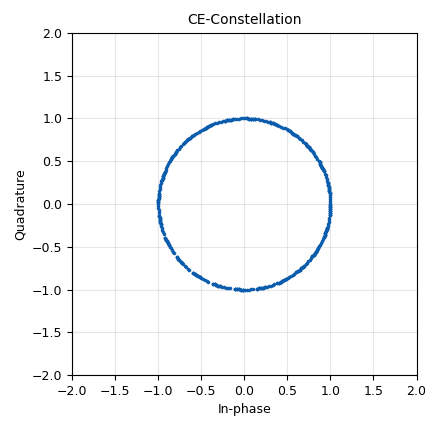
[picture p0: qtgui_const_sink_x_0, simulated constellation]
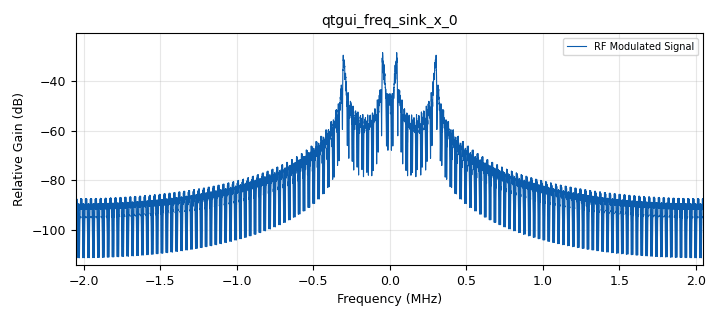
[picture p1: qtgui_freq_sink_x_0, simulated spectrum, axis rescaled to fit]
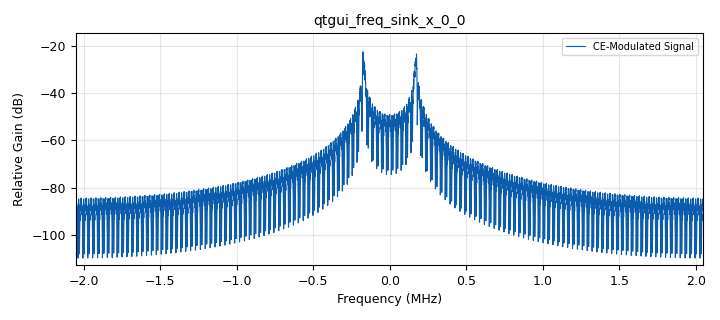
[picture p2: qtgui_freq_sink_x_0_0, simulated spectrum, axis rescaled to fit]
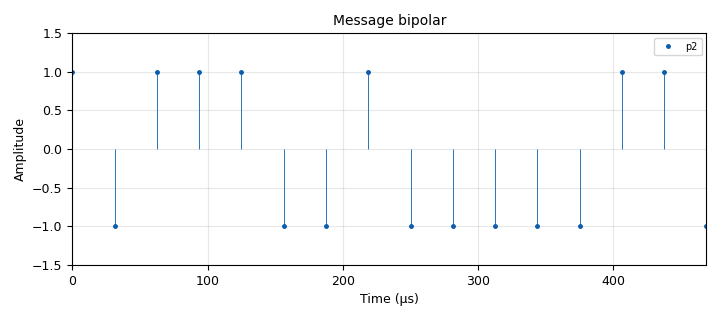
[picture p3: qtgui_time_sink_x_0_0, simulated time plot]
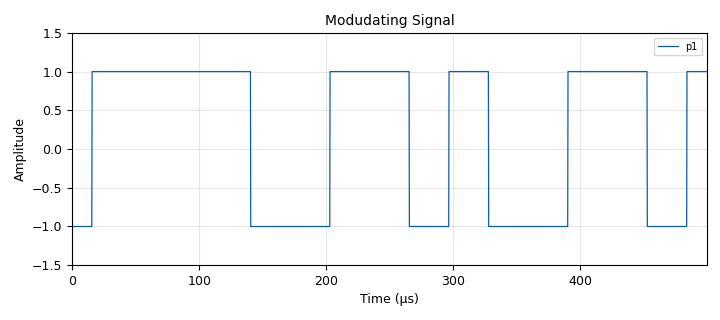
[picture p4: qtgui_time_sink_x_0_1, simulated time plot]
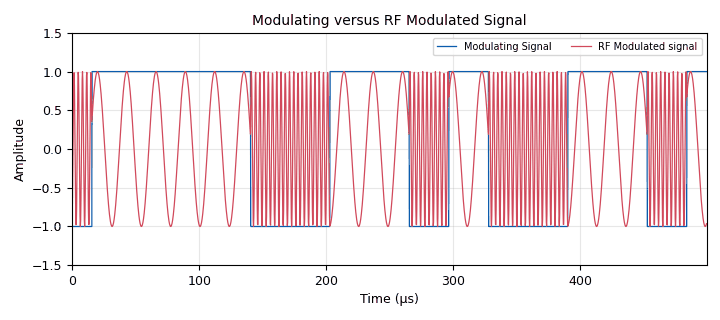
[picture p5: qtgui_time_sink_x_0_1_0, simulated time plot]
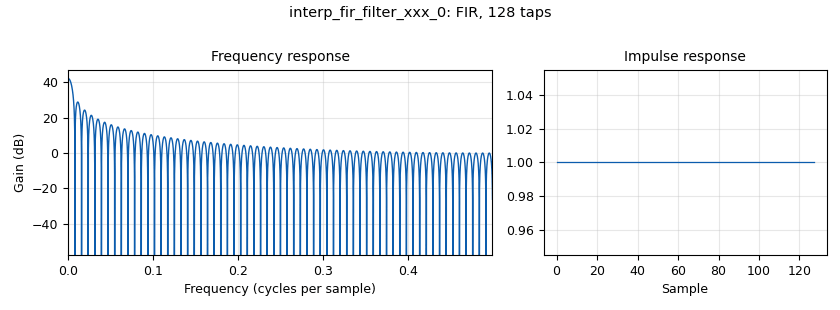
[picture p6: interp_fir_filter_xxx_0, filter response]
options:
  parameters:
    author: radiogis_director
    generate_options: qt_gui
    id: fsk
    output_language: python
    title: fsk
  states: {}

blocks:
- name: Rb
  id: variable
  parameters:
    value: '32000'
  states: {}
- name: Sps
  id: variable
  parameters:
    value: '128'
  states: {}
- name: fc
  id: variable_qtgui_range
  parameters:
    gui_hint: 0,0,1,1
    label: 'Carrier Freq. '
    start: '0'
    step: samp_rate/1000
    stop: samp_rate/8
    value: Rb*4
  states: {}
- name: fd
  id: variable_qtgui_range
  parameters:
    gui_hint: 0,1,1,1
    label: Deviation Freq
    start: '0'
    step: samp_rate/1000
    stop: samp_rate/8
    value: Rb
  states: {}
- name: h
  id: variable
  parameters:
    value: '[1]*Sps'
  states: {}
- name: samp_rate
  id: variable
  parameters:
    value: Rb*Sps
  states: {}
- name: Menu
  id: qtgui_tab_widget
  parameters:
    gui_hint: 4,0,1,2
    label0: Message
    label1: Modulated-Time
    label2: Modulated-Freq
    label3: Constellatin
    num_tabs: '4'
  states: {}
- name: analog_const_source_x_0
  id: analog_const_source_x
  parameters:
    const: '1'
    type: float
  states: {}
- name: analog_random_source_x_0
  id: analog_random_source_x
  parameters:
    max: '2'
    min: '0'
    num_samps: '1000000'
    repeat: 'True'
    type: byte
  states: {}
- name: blocks_add_const_vxx_0
  id: blocks_add_const_vxx
  parameters:
    const: '-0.5'
    type: float
  states: {state: disabled}
- name: blocks_add_const_vxx_1
  id: blocks_add_const_vxx
  parameters:
    const: '-0.5'
    type: float
  states: {}
- name: blocks_char_to_float_0
  id: blocks_char_to_float
  parameters:
    scale: '1'
  states: {}
- name: blocks_multiply_const_vxx_0
  id: blocks_multiply_const_vxx
  parameters:
    const: 2*math.pi*fd/(Rb*Sps)
    type: float
  states: {state: disabled}
- name: blocks_multiply_const_vxx_0_0
  id: blocks_multiply_const_vxx
  parameters:
    const: '2'
    type: float
  states: {state: disabled}
- name: blocks_multiply_const_vxx_0_1
  id: blocks_multiply_const_vxx
  parameters:
    const: math.pi
    type: float
  states: {state: disabled}
- name: blocks_multiply_const_vxx_1
  id: blocks_multiply_const_vxx
  parameters:
    const: '2'
    type: float
  states: {}
- name: blocks_multiply_const_vxx_1_0
  id: blocks_multiply_const_vxx
  parameters:
    const: fd
    type: float
  states: {}
- name: epy_block_0
  id: epy_block
  parameters:
    _source_code: "import numpy as np\nfrom gnuradio import gr\nimport math\n\nclass blk(gr.sync_block):  \n    \"\"\"This block is a RF VCO and works as following:\n    The block takes two values as inputs, A and Q, A is\n    the amplitude of the message, and Q is the phase of the message.\n    Next, in the \"work\" function, a vector n is generated,\n    this vector represents the moment of time.\n    With this data, the modulation is generated: the amplitude \"A\" is\n    taken and multiplied to a cosine with carrier frequency, and with phase \"Q\".\n    The output of this block will be the OOK modulated signal.\"\"\"\n\n    def __init__(self, fc=128000, samp_rate=320000):  \n        gr.sync_block.__init__(\n            self,\n            name='e_RF_VCO_ff',   \n            in_sig=[np.float32, np.float32],\n            out_sig=[np.float32]\n        )\n        self.fc = fc\n        self.samp_rate = samp_rate\n        self.n_m=0\n\n    def work(self, input_items, output_items):\n        A=input_items[0]\n        Q=input_items[1]\n        y=output_items[0]\n        N=len(A)\n        n=np.linspace(self.n_m,self.n_m+N-1,N)\n        self.n_m += N\n        y[:]=A*np.cos(2*math.pi*self.fc*n/self.samp_rate+Q)\n        return len(output_items[0])\n\n\n"
    fc: fc
    samp_rate: samp_rate
  states: {}
- name: epy_block_0_0
  id: epy_block
  parameters:
    _source_code: "import numpy as np\nfrom gnuradio import gr\nimport math\n\nclass blk(gr.sync_block):  \n    \"\"\"This block is a CE VCO or baseband VCO and works as following:\n    The block takes two values as inputs, A and Q, A is the amplitude \n    of the message, and Q is the phase of the message.\n    Next, in the \"work\" function, the information is processed.\n    Here the modulation is generated: the amplitude \"A\" is taken and \n    multiplied by an euler with argument \"1j*Q\".\n    This generates a sine and cosine in which the message information is found.\n    The output of this block will be the complex envelope for OOK modulation.\"\"\"\n\n    def __init__(self,):  \n        gr.sync_block.__init__(\n            self,\n            name='e_CE_VCO_fc',   \n            in_sig=[np.float32, np.float32],\n            out_sig=[np.complex64]\n        )\n        \n    def work(self, input_items, output_items):\n        A=input_items[0]\n        Q=input_items[1]\n        y=output_items[0]\n        N=len(A)\n        y[:]=A*np.exp(1j*Q)\n        return len(output_items[0])\n        \n        \n"
  states: {}
- name: epy_block_0_1
  id: epy_block
  parameters:
    _source_code: |
      """
      Embedded Python Blocks:

      Each time this file is saved, GRC will instantiate the first class it finds
      to get ports and parameters of your block. The arguments to __init__  will
      be the parameters. All of them are required to have default values!
      """

      import numpy as np
      from gnuradio import gr


      class blk(gr.sync_block):  # other base classes are basic_block, decim_block, interp_block
          """Embedded Python Block example - a simple multiply const"""

          def __init__(self,):  # only default arguments here
              """arguments to this function show up as parameters in GRC"""
              gr.sync_block.__init__(
                  self,
                  name='e_Acum',   # will show up in GRC
                  in_sig=[np.float32],
                  out_sig=[np.float32]
              )
              self.acum=0
              
          def work(self, input_items, output_items):
              x=input_items[0]
              y= output_items[0]


              y[:]=self.acum+np.cumsum(x)
              self.acum=y[-1]
              return len(y)
  states: {}
- name: import_0
  id: import
  parameters:
    imports: import math
  states: {}
- name: import_0_0
  id: import
  parameters:
    imports: import numpy as np
  states: {}
- name: interp_fir_filter_xxx_0
  id: interp_fir_filter_xxx
  parameters:
    interp: Sps
    taps: h
    type: fff
  states: {}
- name: qtgui_const_sink_x_0
  id: qtgui_const_sink_x
  parameters:
    gui_hint: Menu@3:3,1,1,1
    name: '"CE-Constellation"'
    size: '1024'
    type: complex
    width1: '8'
  states: {}
- name: qtgui_freq_sink_x_0
  id: qtgui_freq_sink_x
  parameters:
    average: '0.05'
    bw: samp_rate
    fc: '0'
    fftsize: 1024*8
    gui_hint: Menu@2:2,1,1,1
    label1: RF Modulated Signal
    type: float
    width1: '2'
    ymax: '-35'
    ymin: '-65'
  states: {}
- name: qtgui_freq_sink_x_0_0
  id: qtgui_freq_sink_x
  parameters:
    average: '0.05'
    bw: samp_rate
    fc: '0'
    fftsize: 1024*8
    gui_hint: Menu@2:3,1,1,1
    label1: CE-Modulated Signal
    type: complex
    width1: '2'
    ymax: '-35'
    ymin: '-65'
  states: {}
- name: qtgui_time_sink_x_0_0
  id: qtgui_time_sink_x
  parameters:
    gui_hint: Menu@0:3,1,1,1
    label1: p2
    marker1: '0'
    name: '"Message bipolar"'
    size: '16'
    srate: Rb
    stemplot: 'True'
    type: float
    width1: '3'
    ymax: '1.5'
    ymin: '-1.5'
  states: {}
- name: qtgui_time_sink_x_0_1
  id: qtgui_time_sink_x
  parameters:
    gui_hint: Menu@0:4,1,1,1
    label1: p1
    name: Modudating Signal
    size: 16*Sps
    srate: samp_rate
    type: float
    width1: '3'
    ymax: '1.5'
    ymin: '-1.5'
  states: {}
- name: qtgui_time_sink_x_0_1_0
  id: qtgui_time_sink_x
  parameters:
    gui_hint: Menu@1:2,1,1,1
    label1: Modulating Signal
    label2: RF Modulated signal
    name: Modulating versus RF Modulated Signal
    nconnections: '2'
    size: 16*Sps
    srate: samp_rate
    type: float
    width1: '4'
    width2: '2'
    ymax: '1.5'
    ymin: '-1.5'
  states: {}
- name: qtgui_time_sink_x_0_1_0_0
  id: qtgui_time_sink_x
  parameters:
    gui_hint: Menu@1:3,1,1,1
    label1: I-Signal
    label2: Q-signal
    name: CE Modulated Signal
    size: 16*Sps
    srate: samp_rate
    type: complex
    width1: '2'
    width2: '2'
    ymax: '1.5'
    ymin: '-1.5'
  states: {}
- name: virtual_sink_0_0
  id: virtual_sink
  parameters:
    stream_id: p2
  states: {}
- name: virtual_sink_0_0_0
  id: virtual_sink
  parameters:
    stream_id: p3
  states: {}
- name: virtual_sink_0_0_0_0
  id: virtual_sink
  parameters:
    stream_id: p4
  states: {}
- name: virtual_sink_0_0_0_0_0
  id: virtual_sink
  parameters:
    stream_id: p4b
  states: {}
- name: virtual_source_0_0
  id: virtual_source
  parameters:
    stream_id: p2
  states: {}
- name: virtual_source_0_1
  id: virtual_source
  parameters:
    stream_id: p3
  states: {}
- name: virtual_source_0_1_0
  id: virtual_source
  parameters:
    stream_id: p4
  states: {}
- name: virtual_source_0_1_0_0
  id: virtual_source
  parameters:
    stream_id: p4b
  states: {}

connections:
- [analog_const_source_x_0, '0', epy_block_0, '0']
- [analog_const_source_x_0, '0', epy_block_0_0, '0']
- [analog_random_source_x_0, '0', blocks_char_to_float_0, '0']
- [blocks_add_const_vxx_0, '0', blocks_multiply_const_vxx_0_0, '0']
- [blocks_add_const_vxx_1, '0', blocks_multiply_const_vxx_1, '0']
- [blocks_char_to_float_0, '0', blocks_add_const_vxx_0, '0']
- [blocks_char_to_float_0, '0', blocks_add_const_vxx_1, '0']
- [blocks_multiply_const_vxx_0_0, '0', interp_fir_filter_xxx_0, '0']
- [blocks_multiply_const_vxx_0_0, '0', virtual_sink_0_0, '0']
- [blocks_multiply_const_vxx_1, '0', interp_fir_filter_xxx_0, '0']
- [blocks_multiply_const_vxx_1, '0', virtual_sink_0_0, '0']
- [blocks_multiply_const_vxx_1_0, '0', epy_block_0, '1']
- [blocks_multiply_const_vxx_1_0, '0', epy_block_0_0, '1']
- [epy_block_0, '0', virtual_sink_0_0_0_0, '0']
- [epy_block_0_0, '0', virtual_sink_0_0_0_0_0, '0']
- [epy_block_0_1, '0', blocks_multiply_const_vxx_1_0, '0']
- [interp_fir_filter_xxx_0, '0', epy_block_0_1, '0']
- [interp_fir_filter_xxx_0, '0', virtual_sink_0_0_0, '0']
- [virtual_source_0_0, '0', qtgui_time_sink_x_0_0, '0']
- [virtual_source_0_1, '0', qtgui_time_sink_x_0_1, '0']
- [virtual_source_0_1, '0', qtgui_time_sink_x_0_1_0, '0']
- [virtual_source_0_1_0, '0', qtgui_freq_sink_x_0, '0']
- [virtual_source_0_1_0, '0', qtgui_time_sink_x_0_1_0, '1']
- [virtual_source_0_1_0_0, '0', qtgui_const_sink_x_0, '0']
- [virtual_source_0_1_0_0, '0', qtgui_freq_sink_x_0_0, '0']
- [virtual_source_0_1_0_0, '0', qtgui_time_sink_x_0_1_0_0, '0']

metadata:
  file_format: 1
